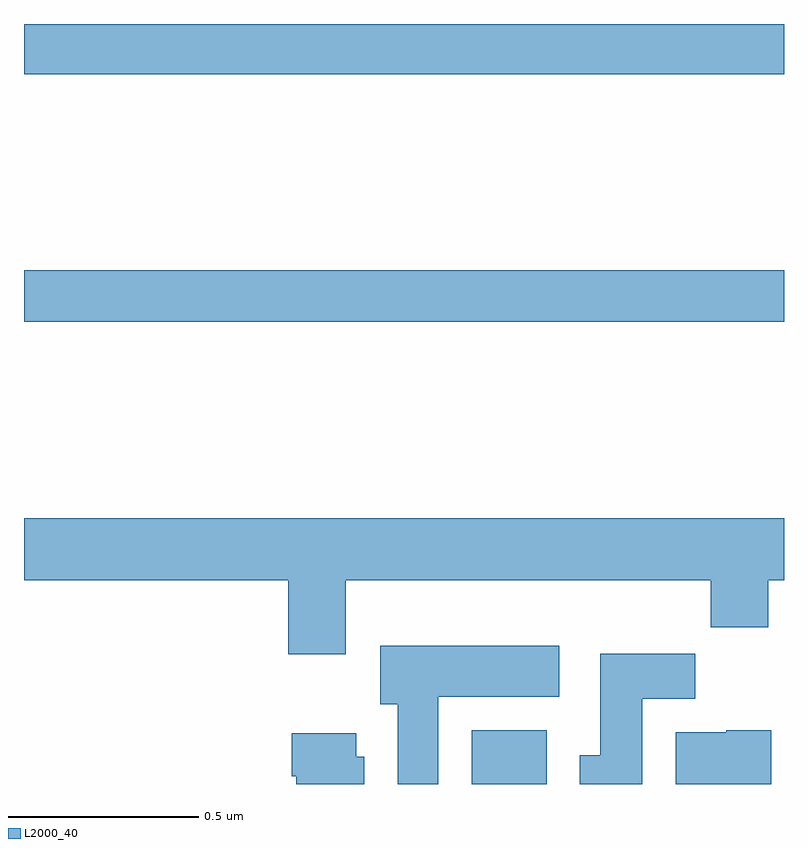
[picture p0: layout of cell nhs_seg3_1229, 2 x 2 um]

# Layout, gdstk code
import gdstk
lib = gdstk.Library(unit=1e-6, precision=1e-09)
def R(c, l, rs):  # rectangles x0, y0, x1, y1
    for r in rs: c.add(gdstk.rectangle(r[:2], r[2:], *l))
def P(c, l, *ps):  # polygons
    for p in ps: c.add(gdstk.Polygon(p, *l))
L2000_40 = (2000, 40)

nhs_seg3_1229 = lib.new_cell('nhs_seg3_1229')
R(nhs_seg3_1229, L2000_40, [(127.178,680.4,127.375,680.542), (126,681.616,128,681.752), (126,682.268,128,682.4)])
P(nhs_seg3_1229, L2000_40, [(126.847,680.936),(127.807,680.936),(127.807,680.812),(127.959,680.812),(127.959,680.936),(128,680.936),(128,681.1),(126,681.1),(126,680.936),(126.695,680.936),(126.695,680.742),(126.847,680.742)],
  [(127.09,680.63),(127.408,680.63),(127.408,680.764),(126.938,680.764),(126.938,680.61),(126.983,680.61),(126.983,680.4),(127.09,680.4)],
  [(127.627,680.624),(127.766,680.624),(127.766,680.743),(127.517,680.743),(127.517,680.476),(127.463,680.476),(127.463,680.4),(127.627,680.4)],
  [(127.966,680.542),(127.848,680.542),(127.848,680.536),(127.715,680.536),(127.715,680.4),(127.966,680.4)],
  [(126.895,680.472),(126.874,680.472),(126.874,680.533),(126.704,680.533),(126.704,680.42),(126.716,680.42),(126.716,680.4),(126.895,680.4)])

lib.write_gds('nhs_seg3_1229.gds')
